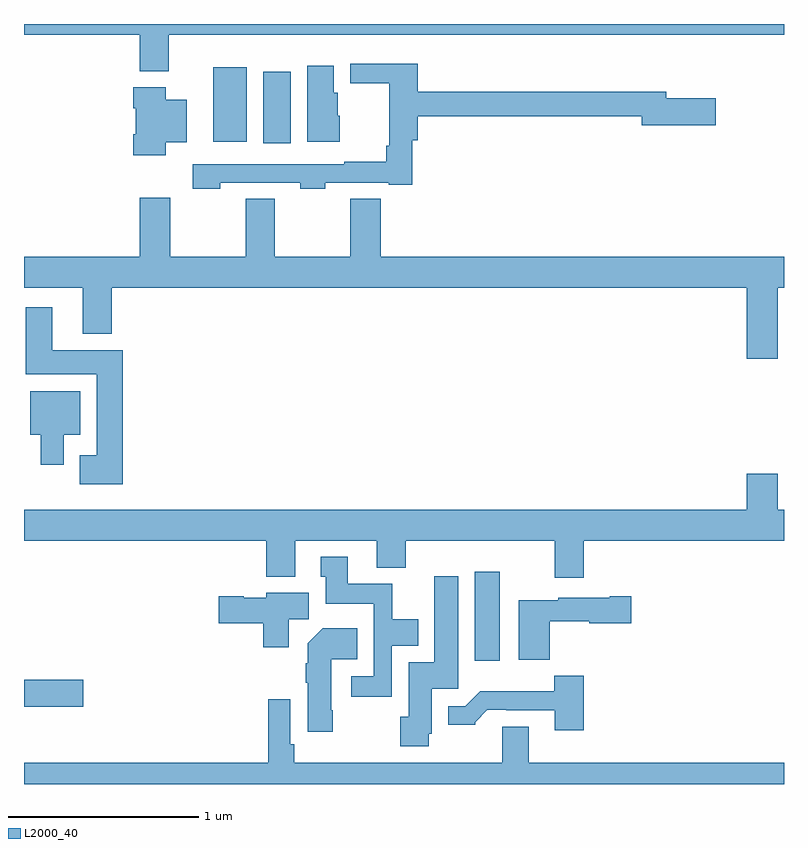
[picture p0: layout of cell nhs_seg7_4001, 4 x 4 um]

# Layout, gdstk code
import gdstk
lib = gdstk.Library(unit=1e-6, precision=1e-09)
def R(c, l, rs):  # rectangles x0, y0, x1, y1
    for r in rs: c.add(gdstk.rectangle(r[:2], r[2:], *l))
def P(c, l, *ps):  # polygons
    for p in ps: c.add(gdstk.Polygon(p, *l))
L2000_40 = (2000, 40)

nhs_seg7_4001 = lib.new_cell('nhs_seg7_4001')
R(nhs_seg7_4001, L2000_40, [(365,1002.406,365.311,1002.548), (367.373,1002.648,367.504,1003.117), (366.26,1005.372,366.403,1005.748), (365.996,1005.38,366.172,1005.772)])
P(nhs_seg7_4001, L2000_40, [(365.761,1005.944),(369,1005.944),(369,1006),(365,1006),(365,1005.944),(365.609,1005.944),(365.609,1005.752),(365.761,1005.752)],
  [(366.033,1005.165),(366.453,1005.165),(366.453,1005.133),(366.585,1005.133),(366.585,1005.165),(366.92,1005.165),(366.92,1005.153),(367.043,1005.153),(367.043,1005.389),(367.073,1005.389),(367.073,1005.514),(368.252,1005.514),(368.252,1005.467),(368.641,1005.467),(368.641,1005.609),(368.38,1005.609),(368.38,1005.643),(367.073,1005.643),(367.073,1005.79),(366.717,1005.79),(366.717,1005.688),(366.922,1005.688),(366.922,1005.358),(366.907,1005.358),(366.907,1005.274),(366.685,1005.274),(366.685,1005.261),(365.889,1005.261),(365.889,1005.133),(366.033,1005.133)],
  [(366.661,1005.516),(366.652,1005.516),(366.652,1005.639),(366.631,1005.639),(366.631,1005.781),(366.491,1005.781),(366.491,1005.38),(366.661,1005.38)],
  [(365.746,1005.377),(365.857,1005.377),(365.857,1005.601),(365.746,1005.601),(365.746,1005.667),(365.576,1005.667),(365.576,1005.557),(365.588,1005.557),(365.588,1005.421),(365.576,1005.421),(365.576,1005.309),(365.746,1005.309)],
  [(368.968,1004.612),(369,1004.612),(369,1004.776),(366.878,1004.776),(366.878,1005.08),(366.718,1005.08),(366.718,1004.776),(366.32,1004.776),(366.32,1005.08),(366.166,1005.08),(366.166,1004.776),(365.769,1004.776),(365.769,1005.085),(365.609,1005.085),(365.609,1004.776),(365,1004.776),(365,1004.612),(365.309,1004.612),(365.309,1004.369),(365.462,1004.369),(365.462,1004.612),(368.804,1004.612),(368.804,1004.238),(368.968,1004.238)],
  [(365.519,1004.284),(365.149,1004.284),(365.149,1004.509),(365.009,1004.509),(365.009,1004.156),(365.384,1004.156),(365.384,1003.729),(365.294,1003.729),(365.294,1003.577),(365.519,1003.577)],
  [(365.209,1003.838),(365.296,1003.838),(365.296,1004.068),(365.033,1004.068),(365.033,1003.838),(365.087,1003.838),(365.087,1003.68),(365.209,1003.68)],
  [(367.946,1003.28),(369,1003.28),(369,1003.444),(368.968,1003.444),(368.968,1003.633),(368.804,1003.633),(368.804,1003.444),(365,1003.444),(365,1003.28),(366.275,1003.28),(366.275,1003.091),(366.427,1003.091),(366.427,1003.28),(366.857,1003.28),(366.857,1003.139),(367.01,1003.139),(367.01,1003.28),(367.793,1003.28),(367.793,1003.086),(367.946,1003.086)],
  [(366.936,1002.728),(367.075,1002.728),(367.075,1002.868),(366.939,1002.868),(366.939,1003.054),(366.703,1003.054),(366.703,1003.195),(366.563,1003.195),(366.563,1003.092),(366.587,1003.092),(366.587,1002.95),(366.84,1002.95),(366.84,1002.567),(366.723,1002.567),(366.723,1002.459),(366.936,1002.459)],
  [(367.131,1002.264),(367.147,1002.264),(367.147,1002.501),(367.285,1002.501),(367.285,1003.093),(367.16,1003.093),(367.16,1002.64),(367.025,1002.64),(367.025,1002.354),(366.979,1002.354),(366.979,1002.198),(367.131,1002.198)],
  [(366.394,1002.868),(366.499,1002.868),(366.499,1003.006),(366.276,1003.006),(366.276,1002.979),(366.156,1002.979),(366.156,1002.987),(366.024,1002.987),(366.024,1002.845),(366.26,1002.845),(366.26,1002.72),(366.394,1002.72)],
  [(367.766,1002.857),(367.974,1002.857),(367.974,1002.845),(368.197,1002.845),(368.197,1002.987),(368.084,1002.987),(368.084,1002.979),(367.812,1002.979),(367.812,1002.967),(367.604,1002.967),(367.604,1002.653),(367.766,1002.653)],
  [(366.624,1002.388),(366.616,1002.388),(366.616,1002.656),(366.755,1002.656),(366.755,1002.82),(366.572,1002.82),(366.494,1002.742),(366.494,1002.635),(366.482,1002.635),(366.482,1002.532),(366.494,1002.532),(366.494,1002.276),(366.624,1002.276)],
  [(367.946,1002.571),(367.791,1002.571),(367.791,1002.487),(367.402,1002.487),(367.323,1002.408),(367.232,1002.408),(367.232,1002.311),(367.374,1002.311),(367.374,1002.326),(367.438,1002.39),(367.537,1002.39),(367.537,1002.387),(367.793,1002.387),(367.793,1002.282),(367.946,1002.282)],
  [(369,1002.112),(367.657,1002.112),(367.657,1002.302),(367.517,1002.302),(367.517,1002.112),(366.422,1002.112),(366.422,1002.208),(366.402,1002.208),(366.402,1002.445),(366.286,1002.445),(366.286,1002.112),(365,1002.112),(365,1002),(369,1002)])

lib.write_gds('nhs_seg7_4001.gds')
